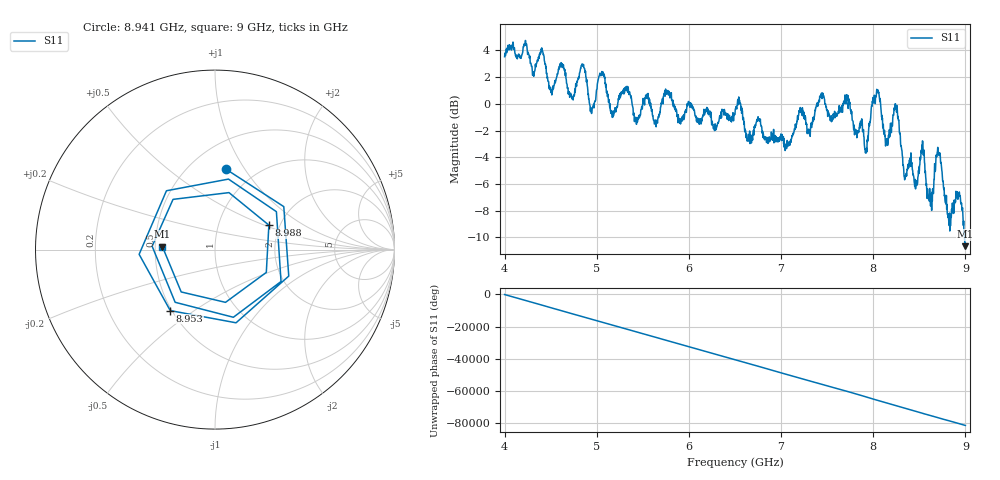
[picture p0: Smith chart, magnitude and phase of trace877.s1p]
! Created with skrf 1.8.0 (http://scikit-rf.org).
# Hz S RI R 50.0
!freq ReS11 ImS11
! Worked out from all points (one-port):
!   1601 points, 4 GHz to 9 GHz, reference 50 ohm
!   lowest |S11| = -10.6 dB at 9 GHz (marker M1), VSWR 1.83, Z = 27.3 + j0.971 ohm
!   |S11| at or under -10 dB: 8.990391 GHz to end of sweep
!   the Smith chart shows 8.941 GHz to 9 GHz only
!   S11 on the Smith chart (normalised r, x): 8.941 GHz: 0.74, +0.83; 8.953 GHz: 0.49, -0.41; 8.988 GHz: 1.75, +0.54; 9 GHz: 0.55, +0.02
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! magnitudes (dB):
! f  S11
! 4 GHz  3.5
! 4.403 GHz  4.2
! 4.506 GHz  0.8
! 4.625 GHz  2.7
! 4.731 GHz  0.4
! 4.853 GHz  2.8
! 4.944 GHz  -0.7
! 5.047 GHz  2.2
! 5.166 GHz  -0.6
! 5.25 GHz  0.7
! 5.875 GHz  -0.8
! 6.5 GHz  -0.8
! 7.125 GHz  -2.4
! 7.444 GHz  0.4
! 7.75 GHz  -0.4
! 7.922 GHz  -3.6
! 8.034 GHz  0.7
! 8.144 GHz  -3.0
! 8.244 GHz  -0.3
! 8.375 GHz  -4.6
! 8.534 GHz  -2.8
! 8.616 GHz  -7.2
! 8.706 GHz  -3.8
! 8.822 GHz  -8.4
! 8.941 GHz  -6.9
! 8.953 GHz  -7.5
! 8.988 GHz  -9.6
! 9 GHz  -10.6
